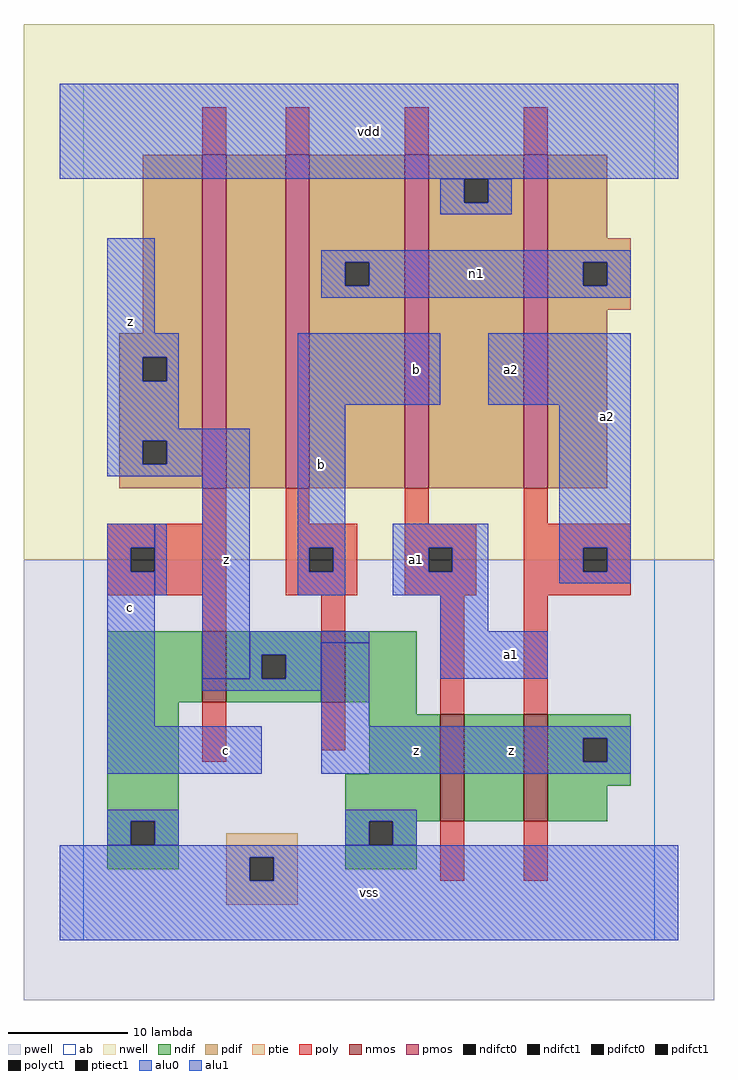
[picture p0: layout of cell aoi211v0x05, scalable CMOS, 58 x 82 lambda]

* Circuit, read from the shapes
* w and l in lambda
.subckt aoi211v0x05 a1 a2 b c n1 vdd vss z
M1 z c vss vss nfet w=6 l=2
M2 vss b z vss nfet w=6 l=2
M3 n2 a1 vss vss nfet w=9 l=2
M4 z a2 n2 vss nfet w=9 l=2
M5 n3 c z n4 pfet w=28 l=2
M6 n1 b n3 n4 pfet w=28 l=2
M7 vdd a1 n1 n4 pfet w=28 l=2
M8 n1 a2 vdd n4 pfet w=28 l=2
.ends

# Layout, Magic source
magic
tech scmos
<< ab >>
rect 0 0 48 72
<< nwell >>
rect -5 32 53 77
<< pwell >>
rect -5 -5 53 32
<< poly >>
rect 10 66 12 70
rect 17 66 19 70
rect 27 66 29 70
rect 37 66 39 70
rect 10 35 12 38
rect 2 33 12 35
rect 2 31 4 33
rect 6 31 12 33
rect 2 29 12 31
rect 17 35 19 38
rect 27 35 29 38
rect 37 35 39 38
rect 17 33 23 35
rect 17 31 19 33
rect 21 31 23 33
rect 17 29 23 31
rect 27 33 33 35
rect 27 31 29 33
rect 31 31 33 33
rect 27 29 33 31
rect 37 33 46 35
rect 37 31 42 33
rect 44 31 46 33
rect 37 29 46 31
rect 10 26 12 29
rect 20 26 22 29
rect 10 15 12 20
rect 20 16 22 20
rect 30 19 32 29
rect 37 19 39 29
rect 30 5 32 10
rect 37 5 39 10
<< ndif >>
rect 2 20 10 26
rect 12 24 20 26
rect 12 22 15 24
rect 17 22 20 24
rect 12 20 20 22
rect 22 20 28 26
rect 2 10 8 20
rect 24 19 28 20
rect 24 14 30 19
rect 2 8 4 10
rect 6 8 8 10
rect 22 10 30 14
rect 32 10 37 19
rect 39 17 46 19
rect 39 15 42 17
rect 44 15 46 17
rect 39 13 46 15
rect 39 10 44 13
rect 2 6 8 8
rect 22 8 24 10
rect 26 8 28 10
rect 22 6 28 8
<< pdif >>
rect 5 51 10 66
rect 3 49 10 51
rect 3 47 5 49
rect 7 47 10 49
rect 3 42 10 47
rect 3 40 5 42
rect 7 40 10 42
rect 3 38 10 40
rect 12 38 17 66
rect 19 57 27 66
rect 19 55 22 57
rect 24 55 27 57
rect 19 38 27 55
rect 29 64 37 66
rect 29 62 32 64
rect 34 62 37 64
rect 29 38 37 62
rect 39 59 44 66
rect 39 57 46 59
rect 39 55 42 57
rect 44 55 46 57
rect 39 53 46 55
rect 39 38 44 53
<< alu1 >>
rect -2 64 50 72
rect 2 51 6 59
rect 2 49 8 51
rect 2 47 5 49
rect 7 47 8 49
rect 2 43 8 47
rect 18 45 30 51
rect 34 45 46 51
rect 2 42 14 43
rect 2 40 5 42
rect 7 40 14 42
rect 2 39 14 40
rect 2 33 6 35
rect 2 31 4 33
rect 2 18 6 31
rect 10 22 14 39
rect 18 33 22 45
rect 18 31 19 33
rect 21 31 22 33
rect 18 29 22 31
rect 26 33 34 35
rect 26 31 29 33
rect 31 31 34 33
rect 26 29 34 31
rect 40 33 46 45
rect 40 31 42 33
rect 44 31 46 33
rect 40 30 46 31
rect 30 26 34 29
rect 20 18 24 25
rect 30 22 39 26
rect 2 14 15 18
rect 20 17 46 18
rect 20 15 42 17
rect 44 15 46 17
rect 20 14 46 15
rect -2 7 50 8
rect -2 5 14 7
rect 16 5 50 7
rect -2 0 50 5
<< ptie >>
rect 12 7 18 9
rect 12 5 14 7
rect 16 5 18 7
rect 12 3 18 5
<< nmos >>
rect 10 20 12 26
rect 20 20 22 26
rect 30 10 32 19
rect 37 10 39 19
<< pmos >>
rect 10 38 12 66
rect 17 38 19 66
rect 27 38 29 66
rect 37 38 39 66
<< polyct1 >>
rect 4 31 6 33
rect 19 31 21 33
rect 29 31 31 33
rect 42 31 44 33
<< ndifct0 >>
rect 15 22 17 24
rect 4 8 6 10
rect 24 8 26 10
<< ndifct1 >>
rect 42 15 44 17
<< ptiect1 >>
rect 14 5 16 7
<< pdifct0 >>
rect 22 55 24 57
rect 32 62 34 64
rect 42 55 44 57
<< pdifct1 >>
rect 5 47 7 49
rect 5 40 7 42
<< alu0 >>
rect 30 62 32 64
rect 34 62 36 64
rect 30 61 36 62
rect 20 57 46 58
rect 20 55 22 57
rect 24 55 42 57
rect 44 55 46 57
rect 20 54 46 55
rect 6 29 7 35
rect 14 25 24 26
rect 14 24 20 25
rect 14 22 15 24
rect 17 22 20 24
rect 10 21 20 22
rect 2 10 8 11
rect 2 8 4 10
rect 6 8 8 10
rect 22 10 28 11
rect 22 8 24 10
rect 26 8 28 10
<< labels >>
rlabel alu0 33 56 33 56 6 n1
rlabel alu1 4 28 4 28 6 c
rlabel alu1 4 52 4 52 6 z
rlabel alu1 12 16 12 16 6 c
rlabel alu1 12 32 12 32 6 z
rlabel alu1 20 40 20 40 6 b
rlabel alu1 24 4 24 4 6 vss
rlabel alu1 28 16 28 16 6 z
rlabel alu1 28 32 28 32 6 a1
rlabel alu1 28 48 28 48 6 b
rlabel alu1 24 68 24 68 6 vdd
rlabel alu1 36 16 36 16 6 z
rlabel alu1 36 24 36 24 6 a1
rlabel alu1 36 48 36 48 6 a2
rlabel alu1 44 44 44 44 6 a2
<< end >>
